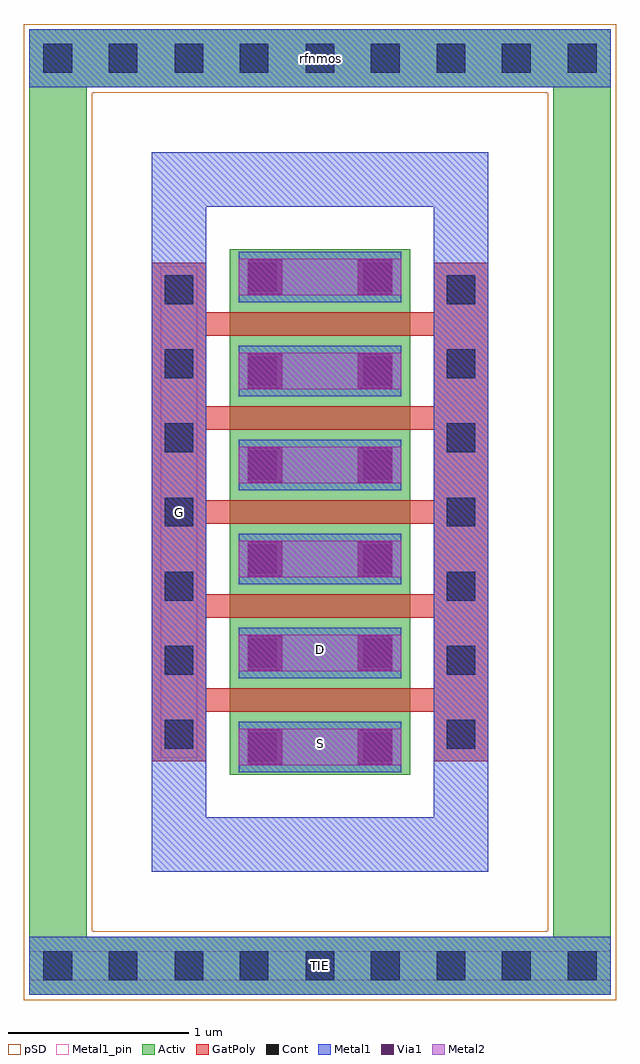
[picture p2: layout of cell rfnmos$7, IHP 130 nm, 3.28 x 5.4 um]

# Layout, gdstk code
import gdstk
lib = gdstk.Library(unit=1e-6, precision=5e-09)
def R(c, l, rs):  # rectangles x0, y0, x1, y1
    for r in rs: c.add(gdstk.rectangle(r[:2], r[2:], *l))
def A(c, l, x, y, w, h, nx, ny, dx, dy):  # array of equal rectangles
    R(c, l, [(x+i*dx, y+j*dy, x+i*dx+w, y+j*dy+h) for i in range(nx) for j in range(ny)])
def P(c, l, *ps):  # polygons
    for p in ps: c.add(gdstk.Polygon(p, *l))
Activ = (1, 0)
GatPoly = (5, 0)
Cont = (6, 0)
Metal1 = (8, 0)
Metal1_pin = (8, 2)
Metal2 = (10, 0)
pSD = (14, 0)
Via1 = (19, 0)

rfnmos_7 = lib.new_cell('rfnmos$7')
R(rfnmos_7, Activ, [(1.14,1.245,2.14,4.155)])
P(rfnmos_7, Activ, [(0.03,0.03),(0.03,5.05),(0.35,5.05),(0.35,0.35),(2.93,0.35),(2.93,5.05),(0.03,5.05),(0.03,5.37),(3.25,5.37),(3.25,0.03)])
A(rfnmos_7, GatPoly, 1.01, 1.595, 1.26, 0.13, 1, 5, 0, 0.52)
R(rfnmos_7, GatPoly, [(0.71,1.32,1.01,4.08), (2.27,1.32,2.57,4.08)])
A(rfnmos_7, Cont, 1.24, 1.32, 0.16, 0.16, 1, 6, 0, 0.52)
A(rfnmos_7, Cont, 1.88, 1.32, 0.16, 0.16, 1, 6, 0, 0.52)
A(rfnmos_7, Cont, 0.78, 1.39, 0.16, 0.16, 1, 7, 0, 0.41)
A(rfnmos_7, Cont, 2.34, 1.39, 0.16, 0.16, 1, 7, 0, 0.41)
R(rfnmos_7, Cont, [(0.11,0.11,0.27,0.27), (0.47,0.11,0.63,0.27), (0.835,0.11,0.995,0.27), (1.195,0.11,1.355,0.27), (1.56,0.11,1.72,0.27), (1.92,0.11,2.08,0.27), (2.285,0.11,2.445,0.27), (2.645,0.11,2.805,0.27), (3.01,0.11,3.17,0.27), (0.11,5.13,0.27,5.29), (0.47,5.13,0.63,5.29), (0.835,5.13,0.995,5.29), (1.195,5.13,1.355,5.29), (1.56,5.13,1.72,5.29), (1.92,5.13,2.08,5.29), (2.285,5.13,2.445,5.29), (2.645,5.13,2.805,5.29), (3.01,5.13,3.17,5.29)])
A(rfnmos_7, Metal1, 1.19, 1.26, 0.9, 0.28, 1, 6, 0, 0.52)
R(rfnmos_7, Metal1, [(0.03,0.03,3.25,0.35), (0.76,1.34,0.96,4.06), (2.32,1.34,2.52,4.06), (0.03,5.05,3.25,5.37)])
P(rfnmos_7, Metal1, [(0.71,0.71),(0.71,4.39),(1.01,4.39),(1.01,1.01),(2.27,1.01),(2.27,4.39),(0.71,4.39),(0.71,4.69),(2.57,4.69),(2.57,0.71)])
R(rfnmos_7, Metal1_pin, [(0.03,0.11,3.25,0.27), (0.03,0.11,3.25,0.27), (1.19,1.26,2.09,1.54), (1.19,1.26,2.09,1.54), (0.76,1.34,0.96,4.06), (0.76,1.34,0.96,4.06), (1.19,1.78,2.09,2.06), (1.19,1.78,2.09,2.06)])
A(rfnmos_7, Metal2, 1.19, 1.3, 0.9, 0.2, 1, 6, 0, 0.52)
P(rfnmos_7, pSD, [(0,0),(0,5.02),(0.38,5.02),(0.38,0.38),(2.9,0.38),(2.9,5.02),(0,5.02),(0,5.4),(3.28,5.4),(3.28,0)])
A(rfnmos_7, Via1, 1.24, 1.305, 0.19, 0.19, 1, 6, 0, 0.52)
A(rfnmos_7, Via1, 1.85, 1.305, 0.19, 0.19, 1, 6, 0, 0.52)
rfnmos_7.add(gdstk.Label('S', (1.64,1.42), layer=63, texttype=0))
rfnmos_7.add(gdstk.Label('D', (1.64,1.94), layer=63, texttype=0))
rfnmos_7.add(gdstk.Label('G', (0.86,2.7), layer=63, texttype=0))
rfnmos_7.add(gdstk.Label('TIE', (1.64,0.19), layer=63, texttype=0))
rfnmos_7.add(gdstk.Label('rfnmos', (1.64,5.21), layer=63, texttype=0))

lib.write_gds('rfnmos_7.gds')
